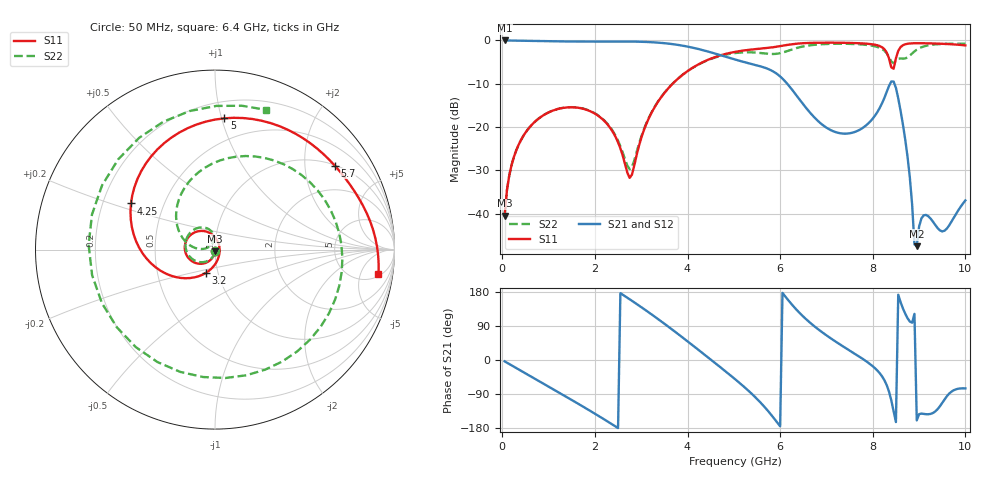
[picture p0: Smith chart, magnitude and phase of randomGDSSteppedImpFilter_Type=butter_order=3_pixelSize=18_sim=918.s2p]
! freq	dB(S11)	phase(S11)	dB(S12)	phase(S12)
!  dB(S21)	phase(S21)	dB(S22)	phase(S22)
!S-par simulation data
#  GHz  S  DB  R 50
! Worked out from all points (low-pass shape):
!   200 points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, 50 MHz to 10 GHz, reference 50 ohm
!   highest |S21| = -0.01 dB at 50 MHz (marker M1); lowest = -47.5 dB at 8.95 GHz (marker M2)
!   |S21| within 3 dB of the highest: start of sweep to 4.586 GHz
!   lowest |S11| = -40.5 dB at 50 MHz (marker M3), VSWR 1.02, Z = 49.9 - j0.943 ohm
!   |S11| at or under -10 dB: start of sweep to 3.678 GHz
!   |S22| runs from -40.5 to -0.8 dB; largest |S21 - S12| = 0
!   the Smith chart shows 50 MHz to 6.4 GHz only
!   S11 on the Smith chart (normalised r, x): 50 MHz: 1.00, -0.02; 3.2 GHz: 0.88, -0.23; 4.25 GHz: 0.32, +0.23; 5 GHz: 0.32, +1.02; 5.7 GHz: 1.02, +2.84; 6.4 GHz: 6, -10
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0.05  -40.49 -93.0  -0.01 -3.6  -0.01 -3.6  -40.49 -93.5
0.2  -28.79 -103.4  -0.03 -14.2  -0.03 -14.2  -28.79 -105.4
0.55  -20.57 -126.6  -0.09 -38.7  -0.09 -38.7  -20.57 -132.0
1.75  -15.79 153.6  -0.26 -123.4  -0.26 -123.4  -15.76 138.5
2.75  -31.74 7.3  -0.26 160.3  -0.26 160.3  -29.73 131.3
3.2  -17.18 -111.1  -0.40 122.4  -0.40 122.4  -17.09 170.6
3.4  -13.57 -131.0  -0.54 104.8  -0.54 104.8  -13.53 156.2
4.25  -5.45 151.2  -2.02 25.4  -2.02 25.4  -5.48 76.8
5  -2.69 85.9  -4.33 -47.9  -4.33 -47.9  -2.96 -4.0
5.05  -2.59 81.9  -4.48 -52.9  -4.48 -52.9  -2.89 -10.0
5.7  -1.78 35.0  -6.42 -129.0  -6.42 -129.0  -3.05 -117.1
6  -1.31 16.6  -8.32 -174.9  -8.32 -174.9  -2.94 164.1
6.4  -0.71 -8.5  -13.37 126.6  -13.37 126.6  -1.63 69.9
6.7  -0.55 -26.4  -17.33 92.9  -17.33 92.9  -1.06 25.0
7.7  -0.65 -77.2  -20.73 9.7  -20.73 9.7  -0.88 -64.3
8.35  -4.12 -115.9  -10.53 -83.2  -10.53 -83.2  -3.81 -140.3
8.6  -1.54 -89.5  -16.23 152.9  -16.23 152.9  -4.16 165.1
8.75  -0.77 -102.7  -26.81 110.4  -26.81 110.4  -3.91 89.9
8.95  -0.64 -114.6  -47.51 -159.3  -47.51 -159.3  -2.15 13.3
9.1  -0.65 -122.1  -40.38 -142.2  -40.38 -142.2  -1.39 -18.7
9.35  -0.72 -133.8  -42.63 -135.7  -42.63 -135.7  -0.91 -50.0
10  -1.15 -169.3  -36.94 -75.0  -36.94 -75.0  -0.77 -91.9
